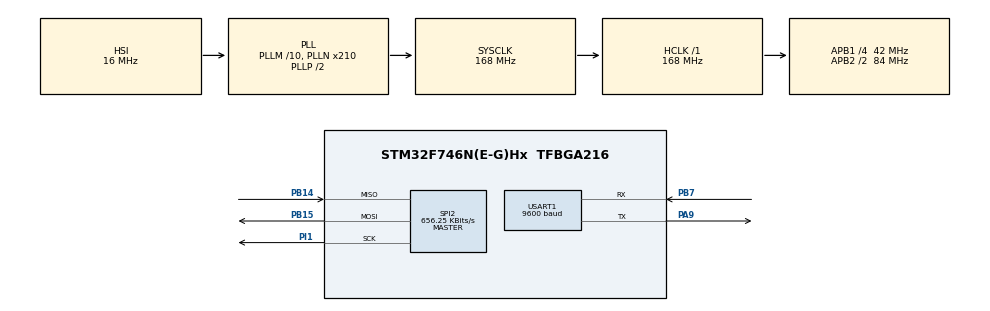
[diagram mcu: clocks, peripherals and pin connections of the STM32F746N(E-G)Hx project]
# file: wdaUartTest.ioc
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Mcu.Family=STM32F7
Mcu.Name=STM32F746N(E-G)Hx
Mcu.Package=TFBGA216
NVIC.PriorityGroup=NVIC_PRIORITYGROUP_4
PA9.Mode=Asynchronous
PA9.Signal=USART1_TX
PB14.Mode=Full_Duplex_Master
PB14.Signal=SPI2_MISO
PB15.Mode=Full_Duplex_Master
PB15.Signal=SPI2_MOSI
PB7.Mode=Asynchronous
PB7.Signal=USART1_RX
PC14/OSC32_IN.Mode=LSE-External-Oscillator
PC14/OSC32_IN.Signal=RCC_OSC32_IN
PC15/OSC32_OUT.Mode=LSE-External-Oscillator
PC15/OSC32_OUT.Signal=RCC_OSC32_OUT
PH0/OSC_IN.Mode=HSE-External-Oscillator
PH0/OSC_IN.Signal=RCC_OSC_IN
PH1/OSC_OUT.Mode=HSE-External-Oscillator
PH1/OSC_OUT.Signal=RCC_OSC_OUT
PI1.Mode=Full_Duplex_Master
PI1.Signal=SPI2_SCK
ProjectManager.HeapSize=0x200
ProjectManager.StackSize=0x400
ProjectManager.TargetToolchain=SW4STM32
RCC.AHBFreq_Value=168000000
RCC.APB1CLKDivider=RCC_HCLK_DIV4
RCC.APB1Freq_Value=42000000
RCC.APB1TimFreq_Value=84000000
RCC.APB2CLKDivider=RCC_HCLK_DIV2
RCC.APB2Freq_Value=84000000
RCC.APB2TimFreq_Value=168000000
RCC.CortexFreq_Value=168000000
RCC.HCLKFreq_Value=168000000
RCC.HSE_VALUE=25000000
RCC.HSI_VALUE=16000000
RCC.PLLM=10
RCC.PLLN=210
RCC.PLLSourceVirtual=RCC_PLLSOURCE_HSI
RCC.SYSCLKFreq_VALUE=168000000
RCC.SYSCLKSource=RCC_SYSCLKSOURCE_PLLCLK
RCC.USBFreq_Value=168000000
RCC.VCOOutputFreq_Value=336000000
SPI2.BaudRatePrescaler=SPI_BAUDRATEPRESCALER_64
SPI2.CalculateBaudRate=656.25 KBits/s
SPI2.DataSize=SPI_DATASIZE_8BIT
SPI2.Mode=SPI_MODE_MASTER
USART1.BaudRate=9600
USART1.WordLength=UART_WORDLENGTH_8B
board=STM32F746G-DISCO

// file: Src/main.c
/**
  ******************************************************************************
  * File Name          : main.c
  * Description        : Main program body test
  ******************************************************************************
  *
  * COPYRIGHT(c) 2017 STMicroelectronics
  *
  * Redistribution and use in source and binary forms, with or without modification,
  * are permitted provided that the following conditions are met:
  *   1. Redistributions of source code must retain the above copyright notice,
  *      this list of conditions and the following disclaimer.
  *   2. Redistributions in binary form must reproduce the above copyright notice,
  *      this list of conditions and the following disclaimer in the documentation
  *      and/or other materials provided with the distribution.
  *   3. Neither the name of STMicroelectronics nor the names of its contributors
  *      may be used to endorse or promote products derived from this software
  *      without specific prior written permission.
  *
  * THIS SOFTWARE IS PROVIDED BY THE COPYRIGHT HOLDERS AND CONTRIBUTORS "AS IS"
  * AND ANY EXPRESS OR IMPLIED WARRANTIES, INCLUDING, BUT NOT LIMITED TO, THE
  * IMPLIED WARRANTIES OF MERCHANTABILITY AND FITNESS FOR A PARTICULAR PURPOSE ARE
  * DISCLAIMED. IN NO EVENT SHALL THE COPYRIGHT HOLDER OR CONTRIBUTORS BE LIABLE
  * FOR ANY DIRECT, INDIRECT, INCIDENTAL, SPECIAL, EXEMPLARY, OR CONSEQUENTIAL
  * DAMAGES (INCLUDING, BUT NOT LIMITED TO, PROCUREMENT OF SUBSTITUTE GOODS OR
  * SERVICES; LOSS OF USE, DATA, OR PROFITS; OR BUSINESS INTERRUPTION) HOWEVER
  * CAUSED AND ON ANY THEORY OF LIABILITY, WHETHER IN CONTRACT, STRICT LIABILITY,
  * OR TORT (INCLUDING NEGLIGENCE OR OTHERWISE) ARISING IN ANY WAY OUT OF THE USE
  * OF THIS SOFTWARE, EVEN IF ADVISED OF THE POSSIBILITY OF SUCH DAMAGE.
  *
  ******************************************************************************
  */
#include "main.h"
#include "stm32f7xx_hal.h"

/* USER CODE BEGIN Includes */
#include <string.h>
/* USER CODE END Includes */

SPI_HandleTypeDef hspi2;

UART_HandleTypeDef huart1;

/* USER CODE BEGIN PV */
/* Private variables ---------------------------------------------------------*/
/* Private function prototypes -----------------------------------------------*/
uint8_t MAXLED = 62;   //aantal leds//

uint32_t pData[63]; //TODO check
/* USER CODE END PV */

void SystemClock_Config(void);
void Error_Handler(void);
static void MX_GPIO_Init(void);
static void MX_USART1_UART_Init(void);
static void MX_SPI2_Init(void);

/* USER CODE BEGIN PFP */
void zet1LedAanR(uint8_t index, uint32_t * buffer)
{
	buffer[0] = 0x00000000;
	for(int i=1; i < (MAXLED); i++ )
	{
		if(i == index)				// init led
		{
			buffer[i]= 0x25FF0000;
		}
	}
	buffer[MAXLED] = 0xFFFFFFFF;
}

void zetOpLed(uint8_t index, uint32_t * buffer, uint8_t *rdata)
{
	buffer[0] = 0x00000000;
	for(int i=0; i < (MAXLED); i++ )
	{
		switch(rdata[i-1]){
		case '0':
			buffer[i+1] = 0x25000000;
			break;
		case '1':
			buffer[i+1] = 0x25FF0000;
			break;
		case '2':
			buffer[i+1] = 0x2500FF00;
			break;
		case '3':
			buffer[i+1] = 0x25FFFF00;
			break;
		case '4':
			buffer[i+1] = 0x250000FF;
			break;
		case '5':
			buffer[i+1] = 0x25FF00FF;
			break;
		case '6':
			buffer[i+1] = 0x2500FFFF;
			break;
		case '7':
			buffer[i+1] = 0x25FFFFFF;
			break;
		}
	}
	buffer[MAXLED] = 0xFFFFFFFF;
}

void zet1LedAanG(uint8_t index, uint32_t * buffer)
{
	buffer[0] = 0x00000000;
	for(int i=1; i < (MAXLED); i++ )
	{
		if(i == index)				// init led
		{
			buffer[i]= 0x2500FF00;
		}
	}
	buffer[MAXLED] = 0xFFFFFFFF;
}

void zet1LedAanZ(uint8_t index, uint32_t * buffer)
{
//	for(int i=0; i <=(MAXLED+1); i++ )
//		{
//			if (i==0)					// init startbit
//			{
//				pData[i] = 0x00000000;
//
//			} else
//			{
//				if (i==(MAXLED+1))			// init stopbit
//				{
//					pData[i] = 0xFFFFFFFF;
//				}
//				else
//				{
//					if(i == index)				// init led
//					{
//						buffer[i]= 0x50000000;
//					}
//				}
//			}
//		}

	buffer[0] = 0x00000000;
	for(int i=1; i < (MAXLED); i++ )
	{
		if(i == index)				// init led
		{
			buffer[i]= 0x25000000;
		}
	}
	buffer[MAXLED] = 0xFFFFFFFF;
}

void zet1LedAanW(uint8_t index, uint32_t * buffer)
{
//	for(int i=0; i <=(MAXLED+1); i++ )
//	{
//			if (i==0)					// init startbit
//			{
//				pData[i] = 0x00000000;
//
//			} else
//			{
//				if (i==(MAXLED+1))			// init stopbit
//				{
//					pData[i] = 0xFFFFFFFF;
//				}
//				else
//				{
//					if(i == index)				// init led
//					{
//						buffer[i]= 0x50FFFFFF;
//					}
//				}
//			}
//		}

	buffer[0] = 0x00000000;
	for(int i=1; i < (MAXLED); i++ )
	{
		if(i == index)				// init led
		{
			buffer[i]= 0x25FFFFFF;
		}
	}
	buffer[MAXLED] = 0xFFFFFFFF;
}

void zetalleLedUit(uint32_t * buffer)
{
//	for(int i=0; i <=(MAXLED+1); i++ )
//	{
//		if (i==0)					// init startbit
//		{
//			pData[i] = 0x00000000;
//
//		}
//		else
//		{
//			if (i==(MAXLED+1))			// init stopbit
//			{
//				pData[i] = 0xFFFFFFFF;
//			}
//				else								// andere leds uit
//				{
//					buffer[i]   = 0xF0000000; //Uit
//
//				}
//			}
//	}

	buffer[0] = 0x00000000;
	for(int i=1; i < (MAXLED); i++ )
	{
		buffer[i]= 0x25000000;
	}
	buffer[MAXLED] = 0xFFFFFFFF;
}
/* USER CODE END PFP */

int main(void)
{

  /* MCU Configuration----------------------------------------------------------*/

  /* Reset of all peripherals, Initializes the Flash interface and the Systick. */
  HAL_Init();

  /* Configure the system clock */
  SystemClock_Config();

  /* Initialize all configured peripherals */
  MX_GPIO_Init();
  MX_USART1_UART_Init();
  MX_SPI2_Init();

  /* USER CODE BEGIN 2 */
  /*	  zet1LedAanR(10,pData);
   	 HAL_SPI_Transmit(&hspi2, (uint8_t*)pData, sizeof(pData), HAL_MAX_DELAY);
   	 HAL_Delay(1000);*/
//  	  zetalleLedUit(pData);
// 	  HAL_SPI_Transmit(&hspi2, (uint8_t*)pData, sizeof(pData), HAL_MAX_DELAY);
 	 // HAL_Delay(1000);

  /* USER CODE END 2 */
  zetalleLedUit(pData);
  	  HAL_SPI_Transmit(&hspi2, (uint8_t*)pData, sizeof(pData), HAL_MAX_DELAY);
  /* Infinite loop */
  while (1)
  {

  /* USER CODE BEGIN 3 */

	  volatile HAL_UART_StateTypeDef wdatest;
	  uint8_t Uartbuffer[62];
	  memset(Uartbuffer, 0, 62);

	  wdatest =  HAL_UART_GetState(&huart1);
	  HAL_UART_Receive(&huart1, Uartbuffer, 61, HAL_MAX_DELAY );

	  zetOpLed(0, pData, Uartbuffer);
	  HAL_SPI_Transmit(&hspi2, (uint8_t*)pData, sizeof(pData), HAL_MAX_DELAY);
	  HAL_Delay(100);
  }
	  /*for(int i=0;i<10;i++)
	  {
		  if(Uartbuffer[i] == "0")
		  {
//		  		  for(int i = 0; i < 10; i++){
//		  			  HAL_GPIO_TogglePin(GPIOI,GPIO_PIN_1);
//		  			  HAL_Delay(200);
//		  		  }
//			  HAL_GPIO_WritePin(GPIOI,GPIO_PIN_1,GPIO_PIN_RESET);
			  zet1LedAanZ(i,pData);
			  HAL_SPI_Transmit(&hspi2, (uint8_t*)pData, sizeof(pData), HAL_MAX_DELAY);
			  HAL_Delay(100);
		  	  }
		  if (Uartbuffer[i] == '1')
		  {
			zet1LedAanR(i,pData);
			HAL_SPI_Transmit(&hspi2, (uint8_t*)pData, sizeof(pData), HAL_MAX_DELAY);
			HAL_Delay(100);
		  }
		  if (Uartbuffer[i] == '2')
		  {
			zet1LedAanG(i,pData);
			HAL_SPI_Transmit(&hspi2, (uint8_t*)pData, sizeof(pData), HAL_MAX_DELAY);
			HAL_Delay(100);
		  }
		  	  else
		  	  {
//		  		  for(int i = 0; i < 6; i++)
//		  		  {
//		  			  HAL_GPIO_TogglePin(GPIOI,GPIO_PIN_1);
//		  			  HAL_Delay(500);
//		  		  }
//		  		HAL_GPIO_WritePin(GPIOI,GPIO_PIN_1,GPIO_PIN_SET);
		  		 //zetalleLedUit(pData);
		  		zet1LedAanW(i,pData);
		  		 HAL_SPI_Transmit(&hspi2, (uint8_t*)pData, sizeof(pData), HAL_MAX_DELAY);
  				 HAL_Delay(100);
		  	  }
	  }

  }
//	  	  for(uint8_t i=0;i<62;i++)
//	  	  {
//	  		  if(buffer[i] == '0')
//	  		  {
//	  			zet1LedAanZ(i,pData);
//	  		  }
//
//	  		  if(buffer[i] == '1')
//	  		  {
//	  			zet1LedAanR(i,pData);
//	  		  }
//	  		  else
//	  		  {
//	  			zet1LedAanW(i,pData);
//	  		  }
//	  		  HAL_SPI_Transmit(&hspi2, (uint8_t*)pData, sizeof(pData), HAL_MAX_DELAY);
//	  		  HAL_Delay(250);
 */

  /* USER CODE END 3 */

}

/** System Clock Configuration
*/
void SystemClock_Config(void)
{

  RCC_OscInitTypeDef RCC_OscInitStruct;
  RCC_ClkInitTypeDef RCC_ClkInitStruct;
  RCC_PeriphCLKInitTypeDef PeriphClkInitStruct;

    /**Configure the main internal regulator output voltage
    */
  __HAL_RCC_PWR_CLK_ENABLE();

  __HAL_PWR_VOLTAGESCALING_CONFIG(PWR_REGULATOR_VOLTAGE_SCALE2);

    /**Initializes the CPU, AHB and APB busses clocks
    */
  RCC_OscInitStruct.OscillatorType = RCC_OSCILLATORTYPE_HSI;
  RCC_OscInitStruct.HSIState = RCC_HSI_ON;
  RCC_OscInitStruct.HSICalibrationValue = 16;
  RCC_OscInitStruct.PLL.PLLState = RCC_PLL_ON;
  RCC_OscInitStruct.PLL.PLLSource = RCC_PLLSOURCE_HSI;
  RCC_OscInitStruct.PLL.PLLM = 10;
  RCC_OscInitStruct.PLL.PLLN = 210;
  RCC_OscInitStruct.PLL.PLLP = RCC_PLLP_DIV2;
  RCC_OscInitStruct.PLL.PLLQ = 2;
  if (HAL_RCC_OscConfig(&RCC_OscInitStruct) != HAL_OK)
  {
    Error_Handler();
  }

    /**Initializes the CPU, AHB and APB busses clocks
    */
  RCC_ClkInitStruct.ClockType = RCC_CLOCKTYPE_HCLK|RCC_CLOCKTYPE_SYSCLK
                              |RCC_CLOCKTYPE_PCLK1|RCC_CLOCKTYPE_PCLK2;
  RCC_ClkInitStruct.SYSCLKSource = RCC_SYSCLKSOURCE_PLLCLK;
  RCC_ClkInitStruct.AHBCLKDivider = RCC_SYSCLK_DIV1;
  RCC_ClkInitStruct.APB1CLKDivider = RCC_HCLK_DIV4;
  RCC_ClkInitStruct.APB2CLKDivider = RCC_HCLK_DIV2;

  if (HAL_RCC_ClockConfig(&RCC_ClkInitStruct, FLASH_LATENCY_5) != HAL_OK)
  {
    Error_Handler();
  }

  PeriphClkInitStruct.PeriphClockSelection = RCC_PERIPHCLK_USART1;
  PeriphClkInitStruct.Usart1ClockSelection = RCC_USART1CLKSOURCE_PCLK2;
  if (HAL_RCCEx_PeriphCLKConfig(&PeriphClkInitStruct) != HAL_OK)
  {
    Error_Handler();
  }

    /**Configure the Systick interrupt time
    */
  HAL_SYSTICK_Config(HAL_RCC_GetHCLKFreq()/1000);

    /**Configure the Systick
    */
  HAL_SYSTICK_CLKSourceConfig(SYSTICK_CLKSOURCE_HCLK);

  /* SysTick_IRQn interrupt configuration */
  HAL_NVIC_SetPriority(SysTick_IRQn, 0, 0);
}

/* SPI2 init function */
static void MX_SPI2_Init(void)
{

  hspi2.Instance = SPI2;
  hspi2.Init.Mode = SPI_MODE_MASTER;
  hspi2.Init.Direction = SPI_DIRECTION_2LINES;
  hspi2.Init.DataSize = SPI_DATASIZE_8BIT;
  hspi2.Init.CLKPolarity = SPI_POLARITY_LOW;
  hspi2.Init.CLKPhase = SPI_PHASE_1EDGE;
  hspi2.Init.NSS = SPI_NSS_SOFT;
  hspi2.Init.BaudRatePrescaler = SPI_BAUDRATEPRESCALER_64;
  hspi2.Init.FirstBit = SPI_FIRSTBIT_MSB;
  hspi2.Init.TIMode = SPI_TIMODE_DISABLE;
  hspi2.Init.CRCCalculation = SPI_CRCCALCULATION_DISABLE;
  hspi2.Init.CRCPolynomial = 7;
  hspi2.Init.CRCLength = SPI_CRC_LENGTH_DATASIZE;
  hspi2.Init.NSSPMode = SPI_NSS_PULSE_ENABLE;
  if (HAL_SPI_Init(&hspi2) != HAL_OK)
  {
    Error_Handler();
  }

}

/* USART1 init function */
static void MX_USART1_UART_Init(void)
{

  huart1.Instance = USART1;
  huart1.Init.BaudRate = 9600;
  huart1.Init.WordLength = UART_WORDLENGTH_8B;
  huart1.Init.StopBits = UART_STOPBITS_1;
  huart1.Init.Parity = UART_PARITY_NONE;
  huart1.Init.Mode = UART_MODE_TX_RX;
  huart1.Init.HwFlowCtl = UART_HWCONTROL_NONE;
  huart1.Init.OverSampling = UART_OVERSAMPLING_16;
  huart1.Init.OneBitSampling = UART_ONE_BIT_SAMPLE_DISABLE;
  huart1.AdvancedInit.AdvFeatureInit = UART_ADVFEATURE_NO_INIT;
  if (HAL_UART_Init(&huart1) != HAL_OK)
  {
    Error_Handler();
  }

}

/** Configure pins as
        * Analog
        * Input
        * Output
        * EVENT_OUT
        * EXTI
*/
static void MX_GPIO_Init(void)
{

  /* GPIO Ports Clock Enable */
  __HAL_RCC_GPIOB_CLK_ENABLE();
  __HAL_RCC_GPIOI_CLK_ENABLE();
  __HAL_RCC_GPIOC_CLK_ENABLE();
  __HAL_RCC_GPIOA_CLK_ENABLE();
  __HAL_RCC_GPIOH_CLK_ENABLE();

}

void Error_Handler(void)
{
  while(1)
  {
  }
}

/************************ (C) COPYRIGHT STMicroelectronics *****END OF FILE****/
